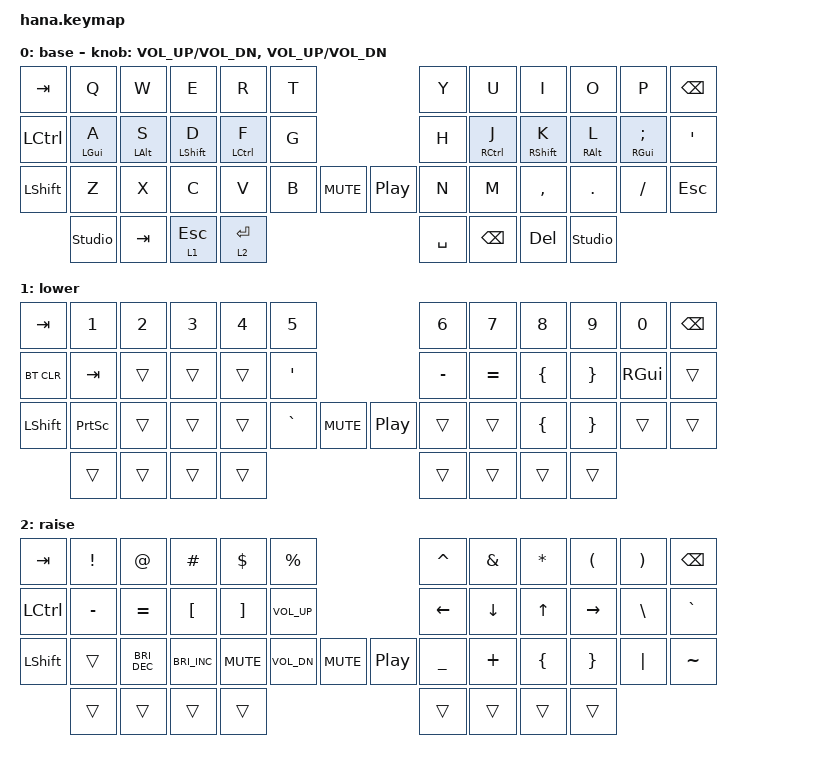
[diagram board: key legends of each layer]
#include <behaviors.dtsi>
#include <dt-bindings/zmk/keys.h>
#include <dt-bindings/zmk/bt.h>
&mt {
    tapping-term-ms = <200>;
    quick-tap-ms = <175>;
    require-prior-idle-ms = <150>;
    flavor = "balanced";
}; 
/*
BASE LAYER
╭─────────────┬─────────────┬─────────────┬─────────────┬─────────────┬─────────────╮                   ╭─────────────┬─────────────┬─────────────┬─────────────┬─────────────┬─────────────╮
    TAB           Q             W             E             R             T                               Y             U             I             O             P             BSPC
├─────────────┼─────────────┼─────────────┼─────────────┼─────────────┼─────────────┤                   ├─────────────┼─────────────┼─────────────┼─────────────┼─────────────┼─────────────┤
    LCTRL         GUI(A)        ALT(S)        SHIFT(D)      CTRL(F)       G                               H             CTRL(J)       SHIFT(K)      ALT(L)        GUI(;)        '
├─────────────┼─────────────┼─────────────┼─────────────┼─────────────┼─────────────┤   knobs           ├─────────────┼─────────────┼─────────────┼─────────────┼─────────────┼─────────────┤
    LSHIFT        Z             X             C             V             B         MUTE / PLAY           N             M             ,             .             /             ESC
╰─────────────┴─────────────┼─────────────┼─────────────┼─────────────┼─────────────┤                   ├─────────────┼─────────────┼─────────────┼─────────────┼─────────────┴─────────────╯
                            UNLOCK        TAB           ESC(1)        ENTER(2)                           SPACE         BSPC          DEL           UNLOCK
*/

 / {
    keymap {
        compatible = "zmk,keymap";

        default_layer {
            display-name = "base";

            sensor-bindings = <&inc_dec_kp C_VOL_UP C_VOL_DN &inc_dec_kp C_VOL_UP C_VOL_DN>;

            bindings = <
&kp TAB    &kp Q           &kp W           &kp E             &kp R         &kp T                      &kp Y      &kp U        &kp I              &kp O            &kp P               &kp BSPC
&kp LCTRL  &mt LEFT_GUI A  &mt LEFT_ALT S  &mt LEFT_SHIFT D  &mt LCTRL F   &kp G                      &kp H      &mt RCTRL J  &mt RIGHT_SHIFT K  &mt RIGHT_ALT L  &mt RIGHT_GUI SEMI  &kp SQT
&kp LSHFT  &kp Z           &kp X           &kp C             &kp V         &kp B &kp C_MUTE  &kp C_PP &kp N      &kp M        &kp COMMA          &kp DOT          &kp FSLH            &kp ESC

               &studio_unlock  &kp TAB    &lt 1 ESCAPE   &lt 2 ENTER                               &kp SPACE  &kp BSPC   &kp DEL   &studio_unlock
            >;
        };

/*
LOWER LAYER
╭─────────────┬─────────────┬─────────────┬─────────────┬─────────────┬─────────────╮                   ╭─────────────┬─────────────┬─────────────┬─────────────┬─────────────┬─────────────╮
    TAB           1             2             3             4             5                               6             7             8             9             0             BSPC
├─────────────┼─────────────┼─────────────┼─────────────┼─────────────┼─────────────┤                   ├─────────────┼─────────────┼─────────────┼─────────────┼─────────────┼─────────────┤
    BT_CLR        GUI           ALT           SHIFT         CTRL          '                               LEFT          CTRL          SHIFT         ALT           GUI           TRANS
├─────────────┼─────────────┼─────────────┼─────────────┼─────────────┼─────────────┤ knobs             ├─────────────┼─────────────┼─────────────┼─────────────┼─────────────┼─────────────┤
    LSHIFT        PRTSCR        -             -             `             UNLOCK          L/R               -             -             -             -             -             -
╰─────────────┴─────────────┼─────────────┼─────────────┼─────────────┼─────────────┤                   ├─────────────┼─────────────┼─────────────┼─────────────┼─────────────┴─────────────╯
                            UNLOCK        GUI           TRANS         ENTER                             SPACE         BSPC          DEL           UNLOCK
*/

        lower_layer {
            display-name = "lower";

            bindings = <
&kp TAB     &kp N1           &kp N2        &kp N3           &kp N4      &kp N5                             &kp N6     &kp N7     &kp N8        &kp N9         &kp N0         &kp BSPC
&bt BT_CLR  &kp TAB          &trans        &trans           &trans      &kp APOS                           &kp MINUS  &kp EQUAL  &kp LBRC      &kp RBRC       &kp RGUI       &trans
&kp LSHFT   &kp PRINTSCREEN  &trans        &trans           &trans      &kp GRAVE    &kp C_MUTE  &kp C_PP  &trans     &trans     &kp LBRC      &kp RBRC       &trans         &trans

                                         &trans   &trans       &trans     &trans                           &trans  &trans      &trans   &trans
            >;
        };

/*
RAISE LAYER
╭─────────────┬─────────────┬─────────────┬─────────────┬─────────────┬─────────────╮                   ╭─────────────┬─────────────┬─────────────┬─────────────┬─────────────┬─────────────╮
    TAB           !             @             #             $             %                               ^             &             *             (             )             BSPC
├─────────────┼─────────────┼─────────────┼─────────────┼─────────────┼─────────────┤                   ├─────────────┼─────────────┼─────────────┼─────────────┼─────────────┼─────────────┤
    LCTRL         -             =             [             ]             VOL+                            LEFT          DOWN          UP            RIGHT         \             `
├─────────────┼─────────────┼─────────────┼─────────────┼─────────────┼─────────────┤                   ├─────────────┼─────────────┼─────────────┼─────────────┼─────────────┼─────────────┤
    LSHIFT        -             BR-           BR+           MUTE          VOL-                            _             +             {             }             |             ~
╰─────────────┴─────────────┼─────────────┼─────────────┼─────────────┼─────────────┤                   ├─────────────┼─────────────┼─────────────┼─────────────┼─────────────┴─────────────╯
                            UNLOCK        GUI           TRANS         ENTER                             SPACE         TRANS         ALT           UNLOCK
*/

        raise_layer {
            display-name = "raise";

            bindings = <
&kp TAB    &kp EXCL   &kp AT                &kp HASH              &kp DLLR           &kp PRCNT                            &kp CARET  &kp AMPS  &kp ASTRK     &kp LPAR         &kp RPAR  &kp BSPC
&kp LCTRL  &kp MINUS  &kp EQUAL             &kp LEFT_BRACKET      &kp RIGHT_BRACKET  &kp C_VOL_UP                         &kp LEFT   &kp DOWN  &kp UP_ARROW  &kp RIGHT_ARROW  &kp BSLH  &kp GRAVE
&kp LSHFT  &trans     &kp C_BRIGHTNESS_DEC  &kp C_BRIGHTNESS_INC  &kp K_MUTE         &kp C_VOL_DN  &kp C_MUTE  &kp C_PP   &kp UNDER  &kp PLUS  &kp LBRC      &kp RBRC         &kp PIPE  &kp TILDE

                                        &trans       &trans       &trans           &trans                                  &trans    &trans    &trans        &trans
            >;
        };

        nav_layer {
            display-name = "nav";
            status = "reserved";
        };

        fn_layer {
            display-name = "fn";
            status = "reserved";
        };

        num_layer {
            display-name = "num";
            status = "reserved";
        };

        sys_layer {
            display-name = "sys";
            status = "reserved";
        };
    };
};
